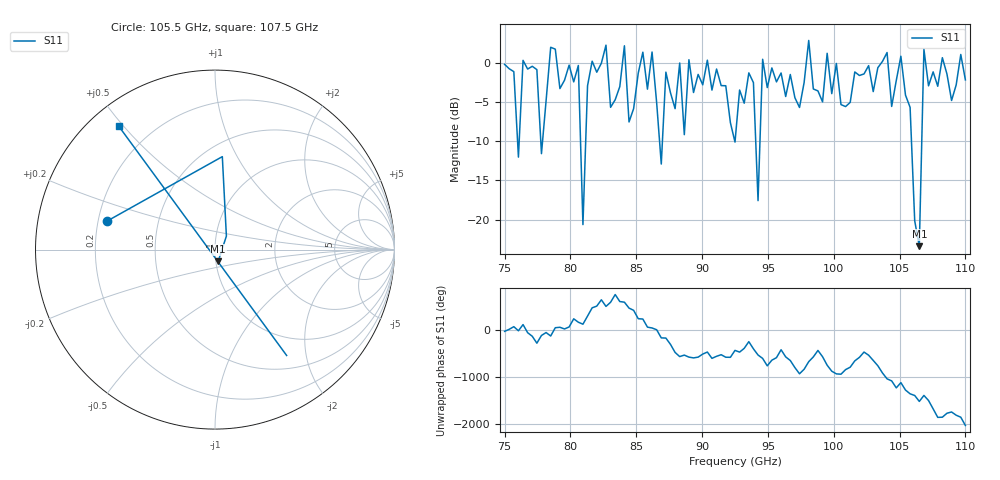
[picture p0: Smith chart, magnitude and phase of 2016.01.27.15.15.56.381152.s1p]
!Created with skrf (http://scikit-rf.org).
# GHz S RI R 50.0
!freq ReS11 ImS11
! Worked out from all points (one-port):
!   101 points, 75 GHz to 110 GHz, reference 50 ohm
!   lowest |S11| = -23.4 dB at 106.5 GHz (marker M1), VSWR 1.15, Z = 51.3 - j6.77 ohm
!   |S11| at or under -10 dB: 75.98491 GHz to 76.10749 GHz (122.6 MHz wide, 0.161 % of centre); 77.74828 GHz to 77.88228 GHz (134 MHz wide, 0.172 % of centre); 105.9 GHz to 106.7 GHz (782.1 MHz wide, 0.736 % of centre) (the widest 3 of 7)
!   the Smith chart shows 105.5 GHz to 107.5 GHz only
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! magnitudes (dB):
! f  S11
! 75 GHz  -0.2
! 76.05 GHz  -12.0
! 76.4 GHz  0.3
! 77.45 GHz  -0.9
! 77.8 GHz  -11.6
! 78.5 GHz  2.0
! 79.55 GHz  -2.2
! 80.6 GHz  -0.4
! 80.95 GHz  -20.6
! 81.65 GHz  0.2
! 83.75 GHz  -3.0
! 86.2 GHz  1.4
! 86.9 GHz  -12.9
! 87.25 GHz  -1.2
! 88.3 GHz  0.0
! 88.65 GHz  -9.2
! 89 GHz  0.4
! 90.4 GHz  0.3
! 92.5 GHz  -10.1
! 93.9 GHz  -2.5
! 94.25 GHz  -17.6
! 94.6 GHz  0.4
! 97.05 GHz  -4.5
! 101.2 GHz  -5.1
! 105.8 GHz  -5.7
! 106.5 GHz  -23.4
! 106.8 GHz  1.7
! 110 GHz  -2.2
